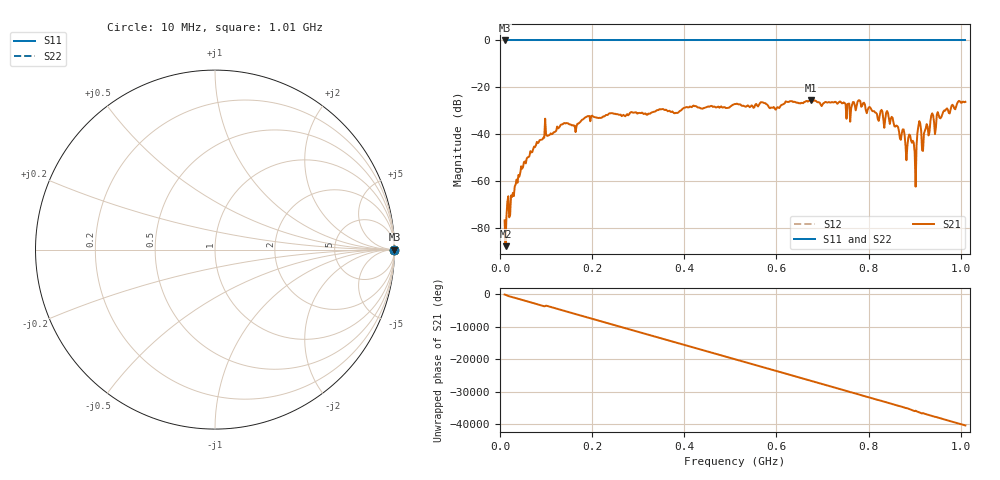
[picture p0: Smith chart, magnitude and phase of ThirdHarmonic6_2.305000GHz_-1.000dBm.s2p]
! 8/17/2025 3:09:40 AM
! C:\ANRITSUVNA\TEMP\TEMP.S2P
! CHANNEL.1
! TR.MEASUREMENT
! RAW.DATA
! RF.CORRECTION.OFF
! AVERAGING.OFF
! IF.BANDWIDTH: 5KHZ
! SWEEPTYPE:  FREQ.SWEEP(Linear)
! Reference Plane Port Info
! PORT:  PORT1  PORT2
! DISTANCE:  0  m  0  m
! TIME:  0  s  0  s
! PHASE.OFFSET:  0  deg.  0  deg.
! LOSS:  0  dB  0  dB
! REF.LOSS:  0  dB  0  dB
! REF.FREQ:  0  Hz  0  Hz
! Power Info
! POWER:  -20  dBm  -20  dBm
! EFF.POWER:  -20  dBm  -20  dBm
! SOURCE.ATTEN:  0  dB  0  dB
! TEST.ATTEN:  0  dB  0  dB
# GHZ S RI R 50.0
! FREQ.GHZ  S11RE  S11IM  S21RE  S21IM  S12RE  S12IM  S22RE  S22IM
!; PortSelection: Port_12
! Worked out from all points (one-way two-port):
!   501 points, 10 MHz to 1.01 GHz, reference 50 ohm
!   highest |S21| = -25.44 dB at 674 MHz (marker M1); lowest = -87.7 dB at 12 MHz (marker M2)
!   lowest |S11| = 0.0 dB at 10 MHz (marker M3)
!   |S11| at or under -10 dB: nowhere
!   |S22| runs from 0.0 to 0.0 dB; largest |S21 - S12| = 1
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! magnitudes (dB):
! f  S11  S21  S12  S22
! 10 MHz  0.0  -76.7  0.0  0.0
! 12 MHz  0.0  -87.7  0.0  0.0
! 50 MHz  0.0  -54.0  0.0  0.0
! 94 MHz  0.0  -41.5  0.0  0.0
! 178 MHz  0.0  -33.8  0.0  0.0
! 344 MHz  0.0  -29.7  0.0  0.0
! 510 MHz  0.0  -27.1  0.0  0.0
! 674 MHz  0.0  -25.4  0.0  0.0
! 678 MHz  0.0  -26.0  0.0  0.0
! 742 MHz  0.0  -26.8  0.0  0.0
! 756 MHz  0.0  -27.0  0.0  0.0
! 780 MHz  0.0  -25.5  0.0  0.0
! 844 MHz  0.0  -33.2  0.0  0.0
! 876 MHz  0.0  -38.0  0.0  0.0
! 882 MHz  0.0  -51.1  0.0  0.0
! 892 MHz  0.0  -42.6  0.0  0.0
! 900 MHz  0.0  -48.0  0.0  0.0
! 910 MHz  0.0  -34.4  0.0  0.0
! 920 MHz  0.0  -39.7  0.0  0.0
! 938 MHz  0.0  -31.1  0.0  0.0
! 944 MHz  0.0  -40.0  0.0  0.0
! 1.01 GHz  0.0  -26.2  0.0  0.0
